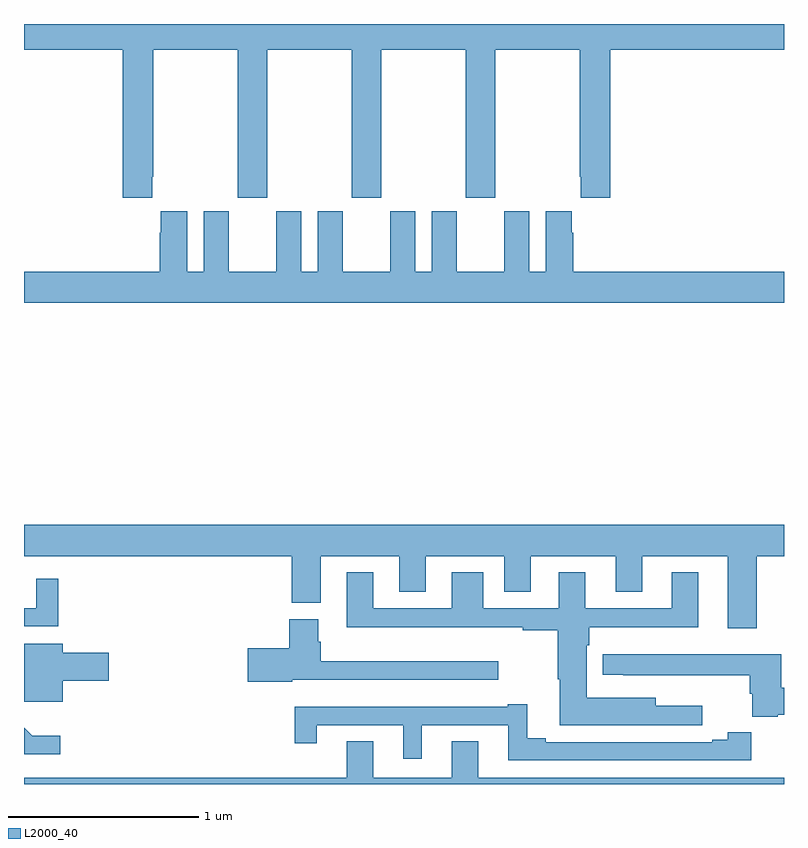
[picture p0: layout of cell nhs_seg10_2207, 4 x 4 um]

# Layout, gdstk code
import gdstk
lib = gdstk.Library(unit=1e-6, precision=1e-09)
def P(c, l, *ps):  # polygons
    for p in ps: c.add(gdstk.Polygon(p, *l))
L2000_40 = (2000, 40)

nhs_seg10_2207 = lib.new_cell('nhs_seg10_2207')
P(nhs_seg10_2207, L2000_40, [(229,1252.364),(229.52,1252.364),(229.52,1251.585),(229.675,1251.585),(229.675,1251.697),(229.68,1251.697),(229.68,1252.364),(230.125,1252.364),(230.125,1251.585),(230.28,1251.585),(230.28,1252.364),(230.725,1252.364),(230.725,1251.585),(230.88,1251.585),(230.88,1252.364),(231.325,1252.364),(231.325,1251.585),(231.48,1251.585),(231.48,1252.364),(231.925,1252.364),(231.925,1251.697),(231.929,1251.697),(231.929,1251.585),(232.085,1251.585),(232.085,1252.364),(233,1252.364),(233,1252.5),(229,1252.5)],
  [(230.546,1251.514),(230.546,1251.196),(230.458,1251.196),(230.458,1251.514),(230.327,1251.514),(230.327,1251.196),(230.077,1251.196),(230.077,1251.514),(229.946,1251.514),(229.946,1251.196),(229.858,1251.196),(229.858,1251.514),(229.721,1251.514),(229.721,1251.401),(229.715,1251.401),(229.715,1251.196),(229,1251.196),(229,1251.032),(233,1251.032),(233,1251.196),(231.89,1251.196),(231.89,1251.401),(231.883,1251.401),(231.883,1251.514),(231.746,1251.514),(231.746,1251.196),(231.658,1251.196),(231.658,1251.514),(231.527,1251.514),(231.527,1251.196),(231.277,1251.196),(231.277,1251.514),(231.146,1251.514),(231.146,1251.196),(231.058,1251.196),(231.058,1251.514),(230.927,1251.514),(230.927,1251.196),(230.677,1251.196),(230.677,1251.514)],
  [(229,1249.7),(230.408,1249.7),(230.408,1249.453),(230.563,1249.453),(230.563,1249.7),(230.975,1249.7),(230.975,1249.511),(231.115,1249.511),(231.115,1249.7),(231.527,1249.7),(231.527,1249.511),(231.667,1249.511),(231.667,1249.7),(232.115,1249.7),(232.115,1249.511),(232.255,1249.511),(232.255,1249.7),(232.703,1249.7),(232.703,1249.32),(232.856,1249.32),(232.856,1249.7),(233,1249.7),(233,1249.864),(229,1249.864)],
  [(232.57,1248.913),(232.324,1248.913),(232.324,1248.955),(231.961,1248.955),(231.961,1249.229),(231.974,1249.229),(231.974,1249.325),(232.549,1249.325),(232.549,1249.615),(232.409,1249.615),(232.409,1249.426),(231.955,1249.426),(231.955,1249.615),(231.815,1249.615),(231.815,1249.426),(231.418,1249.426),(231.418,1249.615),(231.251,1249.615),(231.251,1249.426),(230.839,1249.426),(230.839,1249.615),(230.699,1249.615),(230.699,1249.325),(231.625,1249.325),(231.625,1249.308),(231.809,1249.308),(231.809,1249.051),(231.821,1249.051),(231.821,1248.809),(232.57,1248.809)],
  [(229.181,1249.579),(229.064,1249.579),(229.064,1249.425),(229,1249.425),(229,1249.329),(229.181,1249.329)],
  [(230.412,1249.049),(231.496,1249.049),(231.496,1249.147),(230.561,1249.147),(230.561,1249.25),(230.548,1249.25),(230.548,1249.368),(230.396,1249.368),(230.396,1249.215),(230.178,1249.215),(230.178,1249.037),(230.412,1249.037)],
  [(229.204,1249.043),(229.447,1249.043),(229.447,1249.19),(229.204,1249.19),(229.204,1249.237),(229.001,1249.237),(229.001,1248.932),(229.204,1248.932)],
  [(232.968,1248.865),(233,1248.865),(233,1249.007),(232.985,1249.007),(232.985,1249.183),(232.046,1249.183),(232.046,1249.074),(232.153,1249.074),(232.153,1249.073),(232.82,1249.073),(232.82,1248.976),(232.832,1248.976),(232.832,1248.854),(232.968,1248.854)],
  [(232.828,1248.772),(232.703,1248.772),(232.703,1248.733),(232.622,1248.733),(232.622,1248.72),(231.745,1248.72),(231.745,1248.74),(231.649,1248.74),(231.649,1248.919),(231.545,1248.919),(231.545,1248.907),(230.425,1248.907),(230.425,1248.714),(230.542,1248.714),(230.542,1248.81),(230.996,1248.81),(230.996,1248.633),(231.094,1248.633),(231.094,1248.81),(231.548,1248.81),(231.548,1248.624),(232.828,1248.624)],
  [(229.192,1248.754),(229.043,1248.754),(229,1248.797),(229,1248.659),(229.002,1248.657),(229.192,1248.657)],
  [(233,1248.532),(231.391,1248.532),(231.391,1248.725),(231.251,1248.725),(231.251,1248.532),(230.839,1248.532),(230.839,1248.725),(230.699,1248.725),(230.699,1248.532),(229,1248.532),(229,1248.5),(233,1248.5)])

lib.write_gds('nhs_seg10_2207.gds')
